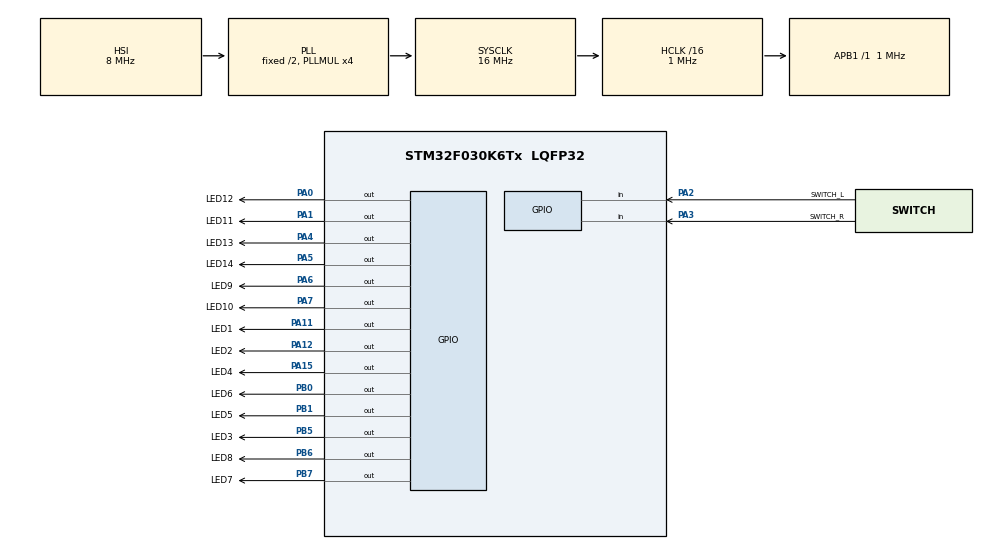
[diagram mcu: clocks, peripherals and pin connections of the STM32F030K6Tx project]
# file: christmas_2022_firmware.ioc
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Mcu.Family=STM32F0
Mcu.Name=STM32F030K6Tx
Mcu.Package=LQFP32
PA0.GPIO_Label=LED12
PA0.Signal=GPIO_Output
PA1.GPIO_Label=LED11
PA1.Signal=GPIO_Output
PA11.GPIO_Label=LED1
PA11.Signal=GPIO_Output
PA12.GPIO_Label=LED2
PA12.Signal=GPIO_Output
PA13.Mode=Serial_Wire
PA13.Signal=SYS_SWDIO
PA14.Mode=Serial_Wire
PA14.Signal=SYS_SWCLK
PA15.GPIO_Label=LED4
PA15.Signal=GPIO_Output
PA2.GPIO_Label=SWITCH_L
PA2.Signal=GPIO_Input
PA3.GPIO_Label=SWITCH_R
PA3.Signal=GPIO_Input
PA4.GPIO_Label=LED13
PA4.Signal=GPIO_Output
PA5.GPIO_Label=LED14
PA5.Signal=GPIO_Output
PA6.GPIO_Label=LED9
PA6.Signal=GPIO_Output
PA7.GPIO_Label=LED10
PA7.Signal=GPIO_Output
PB0.GPIO_Label=LED6
PB0.Signal=GPIO_Output
PB1.GPIO_Label=LED5
PB1.Signal=GPIO_Output
PB5.GPIO_Label=LED3
PB5.Signal=GPIO_Output
PB6.GPIO_Label=LED8
PB6.Signal=GPIO_Output
PB7.GPIO_Label=LED7
PB7.Signal=GPIO_Output
ProjectManager.HeapSize=0x200
ProjectManager.StackSize=0x400
ProjectManager.TargetToolchain=STM32CubeIDE
RCC.AHBCLKDivider=RCC_SYSCLK_DIV16
RCC.AHBFreq_Value=1000000
RCC.APB1Freq_Value=1000000
RCC.APB1TimFreq_Value=1000000
RCC.HCLKFreq_Value=1000000
RCC.PLLMUL=RCC_PLL_MUL4
RCC.SYSCLKFreq_VALUE=16000000
RCC.SYSCLKSource=RCC_SYSCLKSOURCE_PLLCLK
board=custom

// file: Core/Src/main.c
/* USER CODE BEGIN Header */
/**
  ******************************************************************************
  * @file           : main.c
  * @brief          : Main program body
  ******************************************************************************
  * @attention
  *
  * Copyright (c) 2022 STMicroelectronics.
  * All rights reserved.
  *
  * This software is licensed under terms that can be found in the LICENSE file
  * in the root directory of this software component.
  * If no LICENSE file comes with this software, it is provided AS-IS.
  *
  ******************************************************************************
  */
/* USER CODE END Header */
#include "main.h"

/* USER CODE BEGIN Includes */

#include "gpio.h"
#include "tree_games.h"

/* USER CODE END Includes */

void SystemClock_Config(void);
static void MX_GPIO_Init(void);

int main(void)
{

  /* MCU Configuration--------------------------------------------------------*/

  /* Reset of all peripherals, Initializes the Flash interface and the Systick. */
  HAL_Init();

  /* Configure the system clock */
  SystemClock_Config();

  /* Initialize all configured peripherals */
  MX_GPIO_Init();
  /* USER CODE BEGIN 2 */

  int state[7] = {0,0,0,GREEN,0,0,0};
  int button_state = NONE;

  random_set();
//  zig_zag();

  /* USER CODE END 2 */

  /* Infinite loop */
  while (1)
  {

    /* USER CODE BEGIN 3 */

	  set_LEDs(state, 0);

	  button_state = get_button_state_debounce(50);

	  if (button_state == LEFT){
		  rot_L(state);
		  set_LEDs(state, 0);
		  wait_for_button_release(200);
	  } else if (button_state == RIGHT){
		  rot_R(state);
		  set_LEDs(state, 0);
		  wait_for_button_release(200);
	  } else if (button_state == BOTH){
		  wait_for_button_release(0);
		  start_game(state);
	  }

  }
  /* USER CODE END 3 */
}

void SystemClock_Config(void)
{
  RCC_OscInitTypeDef RCC_OscInitStruct = {0};
  RCC_ClkInitTypeDef RCC_ClkInitStruct = {0};

  /** Initializes the RCC Oscillators according to the specified parameters
  * in the RCC_OscInitTypeDef structure.
  */
  RCC_OscInitStruct.OscillatorType = RCC_OSCILLATORTYPE_HSI;
  RCC_OscInitStruct.HSIState = RCC_HSI_ON;
  RCC_OscInitStruct.HSICalibrationValue = RCC_HSICALIBRATION_DEFAULT;
  RCC_OscInitStruct.PLL.PLLState = RCC_PLL_ON;
  RCC_OscInitStruct.PLL.PLLSource = RCC_PLLSOURCE_HSI;
  RCC_OscInitStruct.PLL.PLLMUL = RCC_PLL_MUL4;
  RCC_OscInitStruct.PLL.PREDIV = RCC_PREDIV_DIV1;
  if (HAL_RCC_OscConfig(&RCC_OscInitStruct) != HAL_OK)
  {
    Error_Handler();
  }

  /** Initializes the CPU, AHB and APB buses clocks
  */
  RCC_ClkInitStruct.ClockType = RCC_CLOCKTYPE_HCLK|RCC_CLOCKTYPE_SYSCLK
                              |RCC_CLOCKTYPE_PCLK1;
  RCC_ClkInitStruct.SYSCLKSource = RCC_SYSCLKSOURCE_PLLCLK;
  RCC_ClkInitStruct.AHBCLKDivider = RCC_SYSCLK_DIV16;
  RCC_ClkInitStruct.APB1CLKDivider = RCC_HCLK_DIV1;

  if (HAL_RCC_ClockConfig(&RCC_ClkInitStruct, FLASH_LATENCY_0) != HAL_OK)
  {
    Error_Handler();
  }
}

static void MX_GPIO_Init(void)
{
  GPIO_InitTypeDef GPIO_InitStruct = {0};

  /* GPIO Ports Clock Enable */
  __HAL_RCC_GPIOA_CLK_ENABLE();
  __HAL_RCC_GPIOB_CLK_ENABLE();

  /*Configure GPIO pin Output Level */
  HAL_GPIO_WritePin(GPIOA, LED12_Pin|LED11_Pin|LED13_Pin|LED14_Pin
                          |LED9_Pin|LED10_Pin|LED1_Pin|LED2_Pin
                          |LED4_Pin, GPIO_PIN_RESET);

  /*Configure GPIO pin Output Level */
  HAL_GPIO_WritePin(GPIOB, LED6_Pin|LED5_Pin|LED3_Pin|LED8_Pin
                          |LED7_Pin, GPIO_PIN_RESET);

  /*Configure GPIO pins : LED12_Pin LED11_Pin LED13_Pin LED14_Pin
                           LED9_Pin LED10_Pin LED1_Pin LED2_Pin
                           LED4_Pin */
  GPIO_InitStruct.Pin = LED12_Pin|LED11_Pin|LED13_Pin|LED14_Pin
                          |LED9_Pin|LED10_Pin|LED1_Pin|LED2_Pin
                          |LED4_Pin;
  GPIO_InitStruct.Mode = GPIO_MODE_OUTPUT_PP;
  GPIO_InitStruct.Pull = GPIO_NOPULL;
  GPIO_InitStruct.Speed = GPIO_SPEED_FREQ_LOW;
  HAL_GPIO_Init(GPIOA, &GPIO_InitStruct);

  /*Configure GPIO pins : SWITCH_L_Pin SWITCH_R_Pin */
  GPIO_InitStruct.Pin = SWITCH_L_Pin|SWITCH_R_Pin;
  GPIO_InitStruct.Mode = GPIO_MODE_INPUT;
  GPIO_InitStruct.Pull = GPIO_NOPULL;
  HAL_GPIO_Init(GPIOA, &GPIO_InitStruct);

  /*Configure GPIO pins : LED6_Pin LED5_Pin LED3_Pin LED8_Pin
                           LED7_Pin */
  GPIO_InitStruct.Pin = LED6_Pin|LED5_Pin|LED3_Pin|LED8_Pin
                          |LED7_Pin;
  GPIO_InitStruct.Mode = GPIO_MODE_OUTPUT_PP;
  GPIO_InitStruct.Pull = GPIO_NOPULL;
  GPIO_InitStruct.Speed = GPIO_SPEED_FREQ_LOW;
  HAL_GPIO_Init(GPIOB, &GPIO_InitStruct);

}

void Error_Handler(void)
{
  __disable_irq();
  while (1)
  {
  }
}
